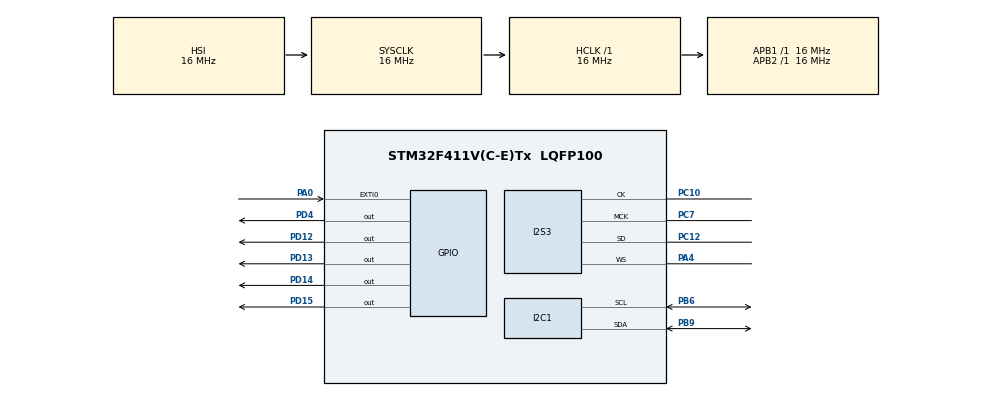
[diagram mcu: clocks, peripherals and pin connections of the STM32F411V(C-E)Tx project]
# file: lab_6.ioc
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Dma.Request0=SPI3_TX
Dma.SPI3_TX.0.Direction=DMA_MEMORY_TO_PERIPH
Dma.SPI3_TX.0.FIFOMode=DMA_FIFOMODE_ENABLE
Dma.SPI3_TX.0.FIFOThreshold=DMA_FIFO_THRESHOLD_FULL
Dma.SPI3_TX.0.Instance=DMA1_Stream5
Dma.SPI3_TX.0.MemBurst=DMA_MBURST_SINGLE
Dma.SPI3_TX.0.MemDataAlignment=DMA_MDATAALIGN_HALFWORD
Dma.SPI3_TX.0.MemInc=DMA_MINC_ENABLE
Dma.SPI3_TX.0.Mode=DMA_CIRCULAR
Dma.SPI3_TX.0.PeriphBurst=DMA_PBURST_SINGLE
Dma.SPI3_TX.0.PeriphDataAlignment=DMA_PDATAALIGN_HALFWORD
Dma.SPI3_TX.0.PeriphInc=DMA_PINC_DISABLE
Dma.SPI3_TX.0.Priority=DMA_PRIORITY_LOW
I2S3.AudioFreq=I2S_AUDIOFREQ_48K
I2S3.ErrorAudioFreq=-2.34 %
I2S3.FullDuplexMode=I2S_FULLDUPLEXMODE_DISABLE
I2S3.Instance=SPI$Index
I2S3.RealAudioFreq=46.875 KHz
I2S3.VirtualMode=I2S_MODE_MASTER
Mcu.Family=STM32F4
Mcu.Name=STM32F411V(C-E)Tx
Mcu.Package=LQFP100
NVIC.DMA1_Stream5_IRQn=true\:0\:0\:false\:false\:true\:false\:true\:true
NVIC.EXTI0_IRQn=true\:0\:0\:false\:false\:true\:true\:true\:true
NVIC.PriorityGroup=NVIC_PRIORITYGROUP_4
PA0-WKUP.Signal=GPXTI0
PA4.Mode=Half_Duplex_Master
PA4.Signal=I2S3_WS
PB6.Mode=I2C
PB6.Signal=I2C1_SCL
PB9.Mode=I2C
PB9.Signal=I2C1_SDA
PC10.Mode=Half_Duplex_Master
PC10.Signal=I2S3_CK
PC12.Mode=Half_Duplex_Master
PC12.Signal=I2S3_SD
PC7.Mode=Master_Clock_Activated
PC7.Signal=I2S3_MCK
PD12.Signal=GPIO_Output
PD13.Signal=GPIO_Output
PD14.Signal=GPIO_Output
PD15.Signal=GPIO_Output
PD4.Signal=GPIO_Output
ProjectManager.HeapSize=0x200
ProjectManager.StackSize=0x400
ProjectManager.TargetToolchain=STM32CubeIDE
RCC.AHBFreq_Value=16000000
RCC.APB1Freq_Value=16000000
RCC.APB2Freq_Value=16000000
RCC.CortexFreq_Value=16000000
RCC.HSE_VALUE=25000000
RCC.HSI_VALUE=16000000
RCC.LSE_VALUE=32768
RCC.SYSCLKFreq_VALUE=16000000
RCC.VCOOutputFreq_Value=192000000
board=custom

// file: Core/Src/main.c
/* USER CODE BEGIN Header */
/**
  ******************************************************************************
  * @file           : main.c
  * @brief          : Main program body
  ******************************************************************************
  * @attention
  *
  * Copyright (c) 2023 STMicroelectronics.
  * All rights reserved.
  *
  * This software is licensed under terms that can be found in the LICENSE file
  * in the root directory of this software component.
  * If no LICENSE file comes with this software, it is provided AS-IS.
  *
  ******************************************************************************
  */
/* USER CODE END Header */
#include "main.h"

/* USER CODE BEGIN PTD */

typedef enum
{
	C4,
	C5,
	D5,
	E5,
	F5,
	G5,
	A5,
	B5,
	C6,
	D6,
	E6,
	F6,
	G6,
	A6,
	B6,
	C7,
	MAX_VALUE
} soundToneType;

/* USER CODE END PTD */

/* USER CODE BEGIN PD */

#define CS43L22_I2C_ADDRESS	0x94
#define I2C_TIMEOUT	10

/* USER CODE END PD */

I2C_HandleTypeDef hi2c1;

I2S_HandleTypeDef hi2s3;
DMA_HandleTypeDef hdma_spi3_tx;

/* USER CODE BEGIN PV */

int16_t dataI2S[100] = {0};
unsigned int mode = 0;
uint16_t out_pin = GPIO_PIN_12;

/* USER CODE END PV */

void SystemClock_Config(void);
static void MX_GPIO_Init(void);
static void MX_DMA_Init(void);
static void MX_I2C1_Init(void);
static void MX_I2S3_Init(void);

/* USER CODE BEGIN 0 */

void CS43L22_Init(void)
{
	// Enable chip
	HAL_GPIO_WritePin(GPIOD, GPIO_PIN_4, GPIO_PIN_SET);

	//
	// Initialization
	//
	uint8_t TxBuffer[2];

	TxBuffer[0] = 0x0D;
	TxBuffer[1] = 0x01;
	HAL_I2C_Master_Transmit(&hi2c1, CS43L22_I2C_ADDRESS, (uint8_t*) &TxBuffer, 2, I2C_TIMEOUT);

	TxBuffer[0] = 0x00;
	TxBuffer[1] = 0x99;
	HAL_I2C_Master_Transmit(&hi2c1, CS43L22_I2C_ADDRESS, (uint8_t*) &TxBuffer, 2, I2C_TIMEOUT);

	TxBuffer[0] = 0x47;
	TxBuffer[1] = 0x80;
	HAL_I2C_Master_Transmit(&hi2c1, CS43L22_I2C_ADDRESS, (uint8_t*) &TxBuffer, 2, I2C_TIMEOUT);

	TxBuffer[0] = 0x32;
	TxBuffer[1] = 0xFF;
	HAL_I2C_Master_Transmit(&hi2c1, CS43L22_I2C_ADDRESS, (uint8_t*) &TxBuffer, 2, I2C_TIMEOUT);

	TxBuffer[0] = 0x32;
	TxBuffer[1] = 0x7F;
	HAL_I2C_Master_Transmit(&hi2c1, CS43L22_I2C_ADDRESS, (uint8_t*) &TxBuffer, 2, I2C_TIMEOUT);

	TxBuffer[0] = 0x00;
	TxBuffer[1] = 0x00;
	HAL_I2C_Master_Transmit(&hi2c1, CS43L22_I2C_ADDRESS, (uint8_t*) &TxBuffer, 2, I2C_TIMEOUT);

	TxBuffer[0] = 0x04;
	TxBuffer[1] = 0xAF;
	HAL_I2C_Master_Transmit(&hi2c1, CS43L22_I2C_ADDRESS, (uint8_t*) &TxBuffer, 2, I2C_TIMEOUT);

	TxBuffer[0] = 0x0D;
	TxBuffer[1] = 0x70;
	HAL_I2C_Master_Transmit(&hi2c1, CS43L22_I2C_ADDRESS, (uint8_t*) &TxBuffer, 2, I2C_TIMEOUT);

	TxBuffer[0] = 0x05;
	TxBuffer[1] = 0x81;
	HAL_I2C_Master_Transmit(&hi2c1, CS43L22_I2C_ADDRESS, (uint8_t*) &TxBuffer, 2, I2C_TIMEOUT);

	TxBuffer[0] = 0x06;
	TxBuffer[1] = 0x07;
	HAL_I2C_Master_Transmit(&hi2c1, CS43L22_I2C_ADDRESS, (uint8_t*) &TxBuffer, 2, I2C_TIMEOUT);

	TxBuffer[0] = 0x0A;
	TxBuffer[1] = 0x00;
	HAL_I2C_Master_Transmit(&hi2c1, CS43L22_I2C_ADDRESS, (uint8_t*) &TxBuffer, 2, I2C_TIMEOUT);

	TxBuffer[0] = 0x27;
	TxBuffer[1] = 0x00;
	HAL_I2C_Master_Transmit(&hi2c1, CS43L22_I2C_ADDRESS, (uint8_t*) &TxBuffer, 2, I2C_TIMEOUT);

	TxBuffer[0] = 0x1A;
	TxBuffer[1] = 0x0A;
	HAL_I2C_Master_Transmit(&hi2c1, CS43L22_I2C_ADDRESS, (uint8_t*) &TxBuffer, 2, I2C_TIMEOUT);

	TxBuffer[0] = 0x1B;
	TxBuffer[1] = 0x0A;
	HAL_I2C_Master_Transmit(&hi2c1, CS43L22_I2C_ADDRESS, (uint8_t*) &TxBuffer, 2, I2C_TIMEOUT);

	TxBuffer[0] = 0x1F;
	TxBuffer[1] = 0x0F;
	HAL_I2C_Master_Transmit(&hi2c1, CS43L22_I2C_ADDRESS, (uint8_t*) &TxBuffer, 2, I2C_TIMEOUT);

	TxBuffer[0] = 0x02;
	TxBuffer[1] = 0x9E;
	HAL_I2C_Master_Transmit(&hi2c1, CS43L22_I2C_ADDRESS, (uint8_t*) &TxBuffer, 2, I2C_TIMEOUT);
}

void CS43L22_Beep(soundToneType pitch, uint32_t duration_ms)
{
	uint8_t TxBuffer[2];

	// Set volume and off time
	TxBuffer[0] = 0x1D;		// Register address
	TxBuffer[1] = 0x00;		// Value (volume and off time)
	HAL_I2C_Master_Transmit(&hi2c1, CS43L22_I2C_ADDRESS, (uint8_t*) &TxBuffer, 2, I2C_TIMEOUT);

	// Set sound frequency
	TxBuffer[0] = 0x1C;		// Register address
	switch (pitch)
	{
		case C4:
			TxBuffer[1] = 0x00;		// Value (frequency and on time)
			break;
		case C5:
			TxBuffer[1] = 0x10;		// Value (frequency and on time)
			break;
		case D5:
			TxBuffer[1] = 0x20;		// Value (frequency and on time)
			break;
		case E5:
			TxBuffer[1] = 0x30;		// Value (frequency and on time)
			break;
		case F5:
			TxBuffer[1] = 0x40;		// Value (frequency and on time)
			break;
		case G5:
			TxBuffer[1] = 0x50;		// Value (frequency and on time)
			break;
		case A5:
			TxBuffer[1] = 0x60;		// Value (frequency and on time)
			break;
		case B5:
			TxBuffer[1] = 0x70;		// Value (frequency and on time)
			break;
		case C6:
			TxBuffer[1] = 0x80;		// Value (frequency and on time)
			break;
		case D6:
			TxBuffer[1] = 0x90;		// Value (frequency and on time)
			break;
		case E6:
			TxBuffer[1] = 0xA0;		// Value (frequency and on time)
			break;
		case F6:
			TxBuffer[1] = 0xB0;		// Value (frequency and on time)
			break;
		case G6:
			TxBuffer[1] = 0xC0;		// Value (frequency and on time)
			break;
		case A6:
			TxBuffer[1] = 0xD0;		// Value (frequency and on time)
			break;
		case B6:
			TxBuffer[1] = 0xE0;		// Value (frequency and on time)
			break;
		case C7:
			TxBuffer[1] = 0xF0;		// Value (frequency and on time)
			break;
		// Assume C4 for all other cases
		case MAX_VALUE:
		default:
			TxBuffer[1] = 0x00;		// Value (frequency and on time)
			break;
	}
	HAL_I2C_Master_Transmit(&hi2c1, CS43L22_I2C_ADDRESS, (uint8_t*) &TxBuffer, 2, I2C_TIMEOUT);

	// Enable continuous mode (SOUND STARTED)
	TxBuffer[0] = 0x1E;		// Register address
	TxBuffer[1] = 0xC0;		// Value (beep and tone configuration)
	HAL_I2C_Master_Transmit(&hi2c1, CS43L22_I2C_ADDRESS, (uint8_t*) &TxBuffer, 2, I2C_TIMEOUT);

	// Turn on a light
	HAL_GPIO_WritePin(GPIOD, out_pin, GPIO_PIN_SET);

	// Playing...
	HAL_Delay(duration_ms);

	// Disable continuous mode (SOUND STOPED)
	TxBuffer[0] = 0x1E;		// Register address
	TxBuffer[1] = 0x00;		// Value (beep and tone configuration)
	HAL_I2C_Master_Transmit(&hi2c1, CS43L22_I2C_ADDRESS, (uint8_t*) &TxBuffer, 2, I2C_TIMEOUT);

	// Turn off a light
	HAL_GPIO_WritePin(GPIOD, out_pin, GPIO_PIN_RESET);

	// Set a next pin of light output
	if (out_pin == GPIO_PIN_15) {
		out_pin = GPIO_PIN_12;
	} else {
		out_pin *= 2;
	}
}

void Play_Jingle() {
	int eighth_duration = 200;

	void Play_Main() {
		CS43L22_Beep(E5, eighth_duration * 2);
		CS43L22_Beep(E5, eighth_duration * 2);
		CS43L22_Beep(E5, eighth_duration * 4);

		CS43L22_Beep(E5, eighth_duration * 2);
		CS43L22_Beep(E5, eighth_duration * 2);
		CS43L22_Beep(E5, eighth_duration * 4);

		CS43L22_Beep(E5, eighth_duration * 2);
		CS43L22_Beep(G5, eighth_duration * 2);
		CS43L22_Beep(C5, eighth_duration * 2);
		CS43L22_Beep(D5, eighth_duration * 2);

		CS43L22_Beep(E5, eighth_duration * 8);

		CS43L22_Beep(F5, eighth_duration * 2);
		CS43L22_Beep(F5, eighth_duration * 2);
		CS43L22_Beep(F5, eighth_duration * 2);
		CS43L22_Beep(F5, eighth_duration * 2);

		CS43L22_Beep(F5, eighth_duration * 2);
		CS43L22_Beep(E5, eighth_duration * 2);
		CS43L22_Beep(E5, eighth_duration * 2);
		CS43L22_Beep(E5, eighth_duration);
		CS43L22_Beep(E5, eighth_duration);
	}

	Play_Main();

	CS43L22_Beep(E5, eighth_duration * 2);
	CS43L22_Beep(D5, eighth_duration * 2);
	CS43L22_Beep(D5, eighth_duration * 2);
	CS43L22_Beep(E5, eighth_duration * 2);

	CS43L22_Beep(D5, eighth_duration * 2);
	HAL_Delay(eighth_duration * 2);
	CS43L22_Beep(G5, eighth_duration * 2);
	HAL_Delay(eighth_duration * 2);

	Play_Main();

	CS43L22_Beep(G5, eighth_duration * 2);
	CS43L22_Beep(G5, eighth_duration * 2);
	CS43L22_Beep(F5, eighth_duration * 2);
	CS43L22_Beep(D5, eighth_duration * 2);

	CS43L22_Beep(C5, eighth_duration * 8);
}

void Play_Scale_Low() {
	int eighth_duration = 150;

	CS43L22_Beep(C5, eighth_duration * 2);
	CS43L22_Beep(D5, eighth_duration);
	CS43L22_Beep(E5, eighth_duration);
	CS43L22_Beep(F5, eighth_duration * 2);

	CS43L22_Beep(G5, eighth_duration * 2);
	CS43L22_Beep(A5, eighth_duration);
	CS43L22_Beep(B5, eighth_duration);
	CS43L22_Beep(C6, eighth_duration * 2);

	CS43L22_Beep(C6, eighth_duration * 2);
	CS43L22_Beep(B5, eighth_duration);
	CS43L22_Beep(A5, eighth_duration);
	CS43L22_Beep(G5, eighth_duration * 2);

	CS43L22_Beep(F5, eighth_duration * 2);
	CS43L22_Beep(E5, eighth_duration);
	CS43L22_Beep(D5, eighth_duration);
	CS43L22_Beep(C5, eighth_duration * 2);
}

void Play_Scale_High() {
	int quarter_duration = 100;

	CS43L22_Beep(C6, quarter_duration);
	CS43L22_Beep(D6, quarter_duration);
	CS43L22_Beep(E6, quarter_duration);

	CS43L22_Beep(F6, quarter_duration);
	CS43L22_Beep(G6, quarter_duration);
	CS43L22_Beep(A6, quarter_duration);

	CS43L22_Beep(B6, quarter_duration * 3);
	CS43L22_Beep(C7, quarter_duration * 3);

	CS43L22_Beep(B6, quarter_duration);
	CS43L22_Beep(A6, quarter_duration);
	CS43L22_Beep(G6, quarter_duration);

	CS43L22_Beep(F6, quarter_duration);
	CS43L22_Beep(E6, quarter_duration);
	CS43L22_Beep(D6, quarter_duration);

	CS43L22_Beep(C6, quarter_duration * 3);
}

void Play_Octaves() {
	CS43L22_Beep(C4, 100);
	HAL_Delay(100);
	CS43L22_Beep(C5, 100);
	HAL_Delay(100);
	CS43L22_Beep(C6, 100);
	HAL_Delay(100);
	CS43L22_Beep(C7, 100);
	HAL_Delay(100);
}

/* USER CODE END 0 */

int main(void)
{

  /* MCU Configuration--------------------------------------------------------*/

  /* Reset of all peripherals, Initializes the Flash interface and the Systick. */
  HAL_Init();

  /* Configure the system clock */
  SystemClock_Config();

  /* Initialize all configured peripherals */
  MX_GPIO_Init();
  MX_DMA_Init();
  MX_I2C1_Init();
  MX_I2S3_Init();
  /* USER CODE BEGIN 2 */

  CS43L22_Init();
  HAL_I2S_Transmit_DMA(&hi2s3, (uint16_t *)dataI2S, 100);

  /* USER CODE END 2 */

  /* Infinite loop */
  /* USER CODE BEGIN WHILE */
  while (1)
  {
	  switch (mode) {
	  	  case 0:
	  		  Play_Octaves();
	  		  break;
	  	  case 1:
	  		  Play_Scale_Low();
	  		  break;
	  	  case 2:
	  		  Play_Scale_High();
	  		  break;
	  	  case 3:
	  		  Play_Jingle();
	  		  break;
	  }
    /* USER CODE END WHILE */

  }
}

void SystemClock_Config(void)
{
  RCC_OscInitTypeDef RCC_OscInitStruct = {0};
  RCC_ClkInitTypeDef RCC_ClkInitStruct = {0};

  /** Macro to configure the PLL multiplication factor
  */
  __HAL_RCC_PLL_PLLM_CONFIG(16);

  /** Macro to configure the PLL clock source
  */
  __HAL_RCC_PLL_PLLSOURCE_CONFIG(RCC_PLLSOURCE_HSI);

  /** Configure the main internal regulator output voltage
  */
  __HAL_RCC_PWR_CLK_ENABLE();
  __HAL_PWR_VOLTAGESCALING_CONFIG(PWR_REGULATOR_VOLTAGE_SCALE1);

  /** Initializes the RCC Oscillators according to the specified parameters
  * in the RCC_OscInitTypeDef structure.
  */
  RCC_OscInitStruct.OscillatorType = RCC_OSCILLATORTYPE_HSI;
  RCC_OscInitStruct.HSIState = RCC_HSI_ON;
  RCC_OscInitStruct.HSICalibrationValue = RCC_HSICALIBRATION_DEFAULT;
  RCC_OscInitStruct.PLL.PLLState = RCC_PLL_NONE;
  RCC_OscInitStruct.PLL.PLLSource = RCC_PLLSOURCE_HSI;
  if (HAL_RCC_OscConfig(&RCC_OscInitStruct) != HAL_OK)
  {
    Error_Handler();
  }

  /** Initializes the CPU, AHB and APB buses clocks
  */
  RCC_ClkInitStruct.ClockType = RCC_CLOCKTYPE_HCLK|RCC_CLOCKTYPE_SYSCLK
                              |RCC_CLOCKTYPE_PCLK1|RCC_CLOCKTYPE_PCLK2;
  RCC_ClkInitStruct.SYSCLKSource = RCC_SYSCLKSOURCE_HSI;
  RCC_ClkInitStruct.AHBCLKDivider = RCC_SYSCLK_DIV1;
  RCC_ClkInitStruct.APB1CLKDivider = RCC_HCLK_DIV1;
  RCC_ClkInitStruct.APB2CLKDivider = RCC_HCLK_DIV1;

  if (HAL_RCC_ClockConfig(&RCC_ClkInitStruct, FLASH_LATENCY_0) != HAL_OK)
  {
    Error_Handler();
  }
}

static void MX_I2C1_Init(void)
{

  hi2c1.Instance = I2C1;
  hi2c1.Init.ClockSpeed = 100000;
  hi2c1.Init.DutyCycle = I2C_DUTYCYCLE_2;
  hi2c1.Init.OwnAddress1 = 0;
  hi2c1.Init.AddressingMode = I2C_ADDRESSINGMODE_7BIT;
  hi2c1.Init.DualAddressMode = I2C_DUALADDRESS_DISABLE;
  hi2c1.Init.OwnAddress2 = 0;
  hi2c1.Init.GeneralCallMode = I2C_GENERALCALL_DISABLE;
  hi2c1.Init.NoStretchMode = I2C_NOSTRETCH_DISABLE;
  if (HAL_I2C_Init(&hi2c1) != HAL_OK)
  {
    Error_Handler();
  }

}

static void MX_I2S3_Init(void)
{

  hi2s3.Instance = SPI3;
  hi2s3.Init.Mode = I2S_MODE_MASTER_TX;
  hi2s3.Init.Standard = I2S_STANDARD_PHILIPS;
  hi2s3.Init.DataFormat = I2S_DATAFORMAT_16B;
  hi2s3.Init.MCLKOutput = I2S_MCLKOUTPUT_ENABLE;
  hi2s3.Init.AudioFreq = I2S_AUDIOFREQ_48K;
  hi2s3.Init.CPOL = I2S_CPOL_LOW;
  hi2s3.Init.ClockSource = I2S_CLOCK_PLL;
  hi2s3.Init.FullDuplexMode = I2S_FULLDUPLEXMODE_DISABLE;
  if (HAL_I2S_Init(&hi2s3) != HAL_OK)
  {
    Error_Handler();
  }

}

static void MX_DMA_Init(void)
{

  /* DMA controller clock enable */
  __HAL_RCC_DMA1_CLK_ENABLE();

  /* DMA interrupt init */
  /* DMA1_Stream5_IRQn interrupt configuration */
  HAL_NVIC_SetPriority(DMA1_Stream5_IRQn, 0, 0);
  HAL_NVIC_EnableIRQ(DMA1_Stream5_IRQn);

}

static void MX_GPIO_Init(void)
{
  GPIO_InitTypeDef GPIO_InitStruct = {0};

  /* GPIO Ports Clock Enable */
  __HAL_RCC_GPIOA_CLK_ENABLE();
  __HAL_RCC_GPIOD_CLK_ENABLE();
  __HAL_RCC_GPIOC_CLK_ENABLE();
  __HAL_RCC_GPIOB_CLK_ENABLE();

  /*Configure GPIO pin Output Level */
  HAL_GPIO_WritePin(GPIOD, GPIO_PIN_12|GPIO_PIN_13|GPIO_PIN_14|GPIO_PIN_15
                          |GPIO_PIN_4, GPIO_PIN_RESET);

  /*Configure GPIO pin : PA0 */
  GPIO_InitStruct.Pin = GPIO_PIN_0;
  GPIO_InitStruct.Mode = GPIO_MODE_IT_RISING;
  GPIO_InitStruct.Pull = GPIO_NOPULL;
  HAL_GPIO_Init(GPIOA, &GPIO_InitStruct);

  /*Configure GPIO pins : PD12 PD13 PD14 PD15
                           PD4 */
  GPIO_InitStruct.Pin = GPIO_PIN_12|GPIO_PIN_13|GPIO_PIN_14|GPIO_PIN_15
                          |GPIO_PIN_4;
  GPIO_InitStruct.Mode = GPIO_MODE_OUTPUT_PP;
  GPIO_InitStruct.Pull = GPIO_NOPULL;
  GPIO_InitStruct.Speed = GPIO_SPEED_FREQ_LOW;
  HAL_GPIO_Init(GPIOD, &GPIO_InitStruct);

  /* EXTI interrupt init*/
  HAL_NVIC_SetPriority(EXTI0_IRQn, 0, 0);
  HAL_NVIC_EnableIRQ(EXTI0_IRQn);

}

void Error_Handler(void)
{
  __disable_irq();
  while (1)
  {
  }
}
